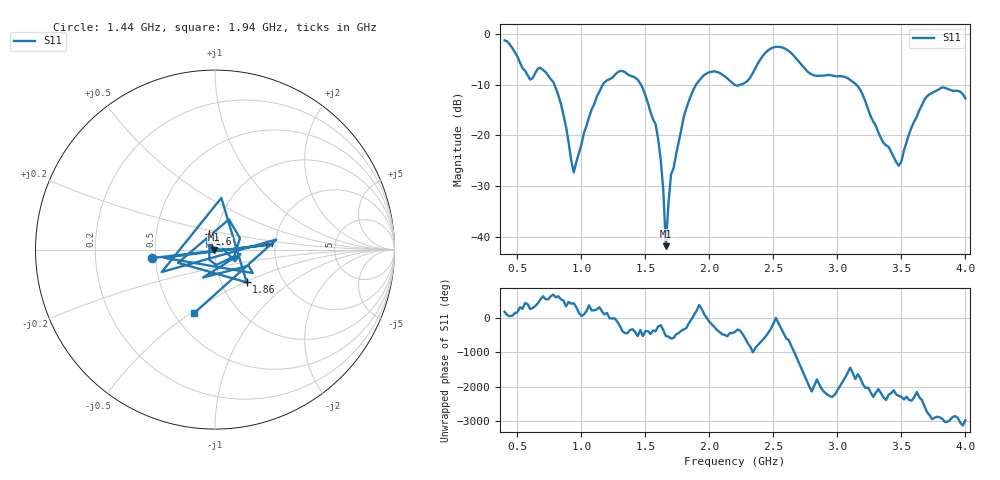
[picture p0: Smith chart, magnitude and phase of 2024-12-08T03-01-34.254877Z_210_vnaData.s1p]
!Created with skrf (http://scikit-rf.org).
# Hz S RI R 50.0
!freq ReS11 ImS11
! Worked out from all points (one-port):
!   181 points, 400 MHz to 4 GHz, reference 50 ohm
!   lowest |S11| = -41.7 dB at 1.66 GHz (marker M1), VSWR 1.02, Z = 49.2 - j0.118 ohm
!   |S11| at or under -10 dB: 788.4 MHz to 1.169 GHz (380.5 MHz wide, 38.9 % of centre); 1.464 GHz to 1.897 GHz (432.1 MHz wide, 25.7 % of centre); 3.147 GHz to end of sweep (the widest 3 of 4)
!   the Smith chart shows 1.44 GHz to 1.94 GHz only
!   S11 on the Smith chart (normalised r, x): 1.44 GHz: 0.48, -0.05; 1.6 GHz: 0.93, +0.16; 1.86 GHz: 1.32, -0.51; 1.94 GHz: 0.63, -0.52
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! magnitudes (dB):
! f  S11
! 400 MHz  -1.3
! 600 MHz  -9.0
! 720 MHz  -7.5
! 780 MHz  -9.5
! 860 MHz  -16.0
! 940 MHz  -27.2
! 1.12 GHz  -12.4
! 1.3 GHz  -7.3
! 1.44 GHz  -9.1
! 1.6 GHz  -20.8
! 1.64 GHz  -30.8
! 1.66 GHz  -41.7
! 1.7 GHz  -27.7
! 1.76 GHz  -21.3
! 1.86 GHz  -11.9
! 1.94 GHz  -8.6
! 2.04 GHz  -7.4
! 2.2 GHz  -10.1
! 2.3 GHz  -9.2
! 2.48 GHz  -2.9
! 2.66 GHz  -4.4
! 2.8 GHz  -8.0
! 3.1 GHz  -9.1
! 3.48 GHz  -25.9
! 3.56 GHz  -19.7
! 3.72 GHz  -11.9
! 3.82 GHz  -10.6
! 4 GHz  -12.7
